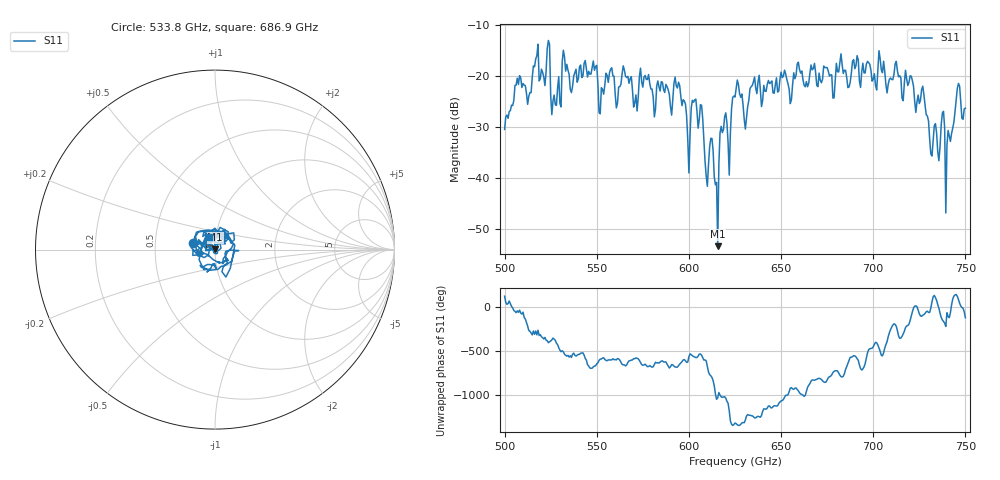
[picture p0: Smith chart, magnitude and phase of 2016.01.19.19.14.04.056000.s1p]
!Created with skrf (http://scikit-rf.org).
# GHz S RI R 50.0
!freq ReS11 ImS11
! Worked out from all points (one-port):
!   401 points, 500 GHz to 750 GHz, reference 50 ohm
!   lowest |S11| = -53.4 dB at 615.6 GHz (marker M1), VSWR 1.00, Z = 50.1 + j0.168 ohm
!   |S11| at or under -10 dB: start of sweep to end of sweep
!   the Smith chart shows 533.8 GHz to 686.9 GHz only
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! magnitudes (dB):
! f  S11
! 500 GHz  -30.5
! 507.5 GHz  -21.7
! 513.1 GHz  -24.0
! 516.9 GHz  -16.7
! 523.8 GHz  -13.1
! 526.9 GHz  -23.8
! 531.2 GHz  -17.2
! 562.5 GHz  -22.1
! 593.8 GHz  -22.4
! 599.4 GHz  -32.5
! 602.5 GHz  -25.2
! 606.9 GHz  -25.8
! 609.4 GHz  -39.6
! 611.9 GHz  -32.2
! 615.6 GHz  -53.4
! 618.1 GHz  -31.1
! 621.9 GHz  -39.5
! 625 GHz  -24.2
! 630.6 GHz  -30.4
! 634.4 GHz  -21.9
! 656.2 GHz  -21.7
! 687.5 GHz  -21.2
! 718.8 GHz  -21.9
! 727.5 GHz  -23.7
! 731.2 GHz  -35.3
! 740.6 GHz  -30.7
! 745.6 GHz  -22.5
! 750 GHz  -26.3
